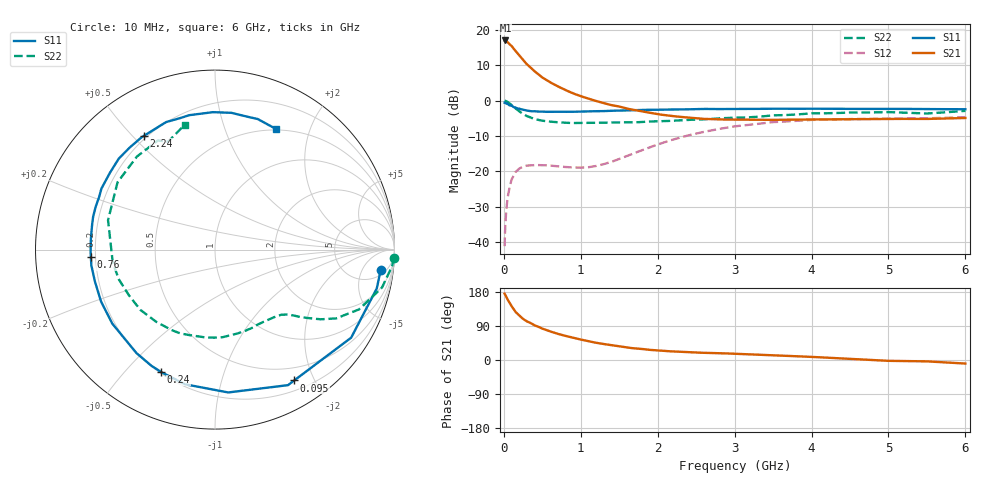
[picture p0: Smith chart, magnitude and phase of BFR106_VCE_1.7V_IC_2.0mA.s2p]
! Infineon Technologies  Discrete & RF Semiconductors
! BFR106
! VCE =  1.7 V,  IC =  2.0 mA
! Common Emitter S-Parameters:  Nov 2015
# GHz  S  MA  R  50
!  f  S11  S21  S12  S22
! GHz  MAG  ANG  MAG  ANG  MAG  ANG  MAG  ANG
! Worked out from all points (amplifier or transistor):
!   210 points, 10 MHz to 6 GHz, reference 50 ohm
!   highest |S21| = 17.0 dB at 20 MHz (marker M1)
!   |S21| within 3 dB of that: start of sweep to 154.4 MHz
!   unconditionally stable (mu >= 1): 771.2 MHz to 2.514 GHz; 2.639 GHz to end of sweep
!   at 185 MHz: K = 0.25, MSG = 16.4 dB, |S12| = -19.6 dB
!   at 1.52 GHz: K = 1.25, MAG = 4.2 dB, |S12| = -16.4 dB
!   at 6 GHz: K = 1.02, MAG = -1.1 dB, |S12| = -4.7 dB
!   S11 on the Smith chart (normalised r, x): 10 MHz: 7, -12; 95 MHz: 0.32, -1.73; 240 MHz: 0.21, -0.63; 760 MHz: 0.18, -0.03; 2.24 GHz: 0.19, +0.54; 6 GHz: 0.49, +1.51
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0.01  0.9303 -6.9  7.062 175.1  0.0087 88.9  0.9977 -2.6
0.02  0.927 -13.5  7.078 171.5  0.0177 82.8  0.991 -5.3
0.05  0.9035 -32.9  6.704 158.8  0.0427 71.3  0.9544 -12.8
0.095  0.8522 -58.8  5.984 143.8  0.0723 58.4  0.8757 -21.5
0.1  0.8577 -61.7  5.933 141.9  0.0757 57.6  0.8683 -22.6
0.15  0.7993 -84.7  5.08 127.2  0.0968 45.6  0.7761 -29.6
0.2  0.7687 -102.6  4.352 117.1  0.1087 38.4  0.7032 -33.5
0.24  0.7452 -113.7  3.848 110.2  0.1148 33.5  0.6549 -35.8
0.3  0.7238 -127.2  3.261 101.9  0.1201 29.0  0.603 -38.4
0.4  0.7054 -144.2  2.591 91.4  0.1224 24.1  0.5469 -41.4
0.5  0.6976 -155.5  2.119 82.8  0.122 21.7  0.5181 -44.4
0.6  0.6923 -165.2  1.813 75.4  0.1203 21.0  0.5028 -47.9
0.76  0.6928 -176.5  1.478 66.0  0.1157 23.7  0.488 -54.3
1.02  0.6984 168.7  1.133 53.1  0.1126 33.4  0.4824 -65.8
1.4  0.7183 151.8  0.86 39.0  0.1357 52.0  0.49 -85.1
2.02  0.7414 129.0  0.636 24.9  0.2425 59.9  0.5093 -119.2
2.24  0.7475 121.9  0.595 22.1  0.2886 57.5  0.5202 -131.6
3.1  0.7614 98.9  0.536 15.7  0.4423 39.5  0.5753 -177.4
4.1  0.7657 82.0  0.54 7.2  0.5339 18.3  0.6593 142.3
5.1  0.7631 70.9  0.55 -2.5  0.5561 3.2  0.6798 116.8
5.5  0.7566 66.7  0.549 -3.6  0.5609 0.5  0.6554 113.5
6  0.7532 63.3  0.566 -9.4  0.5822 -6.9  0.7149 103.7
